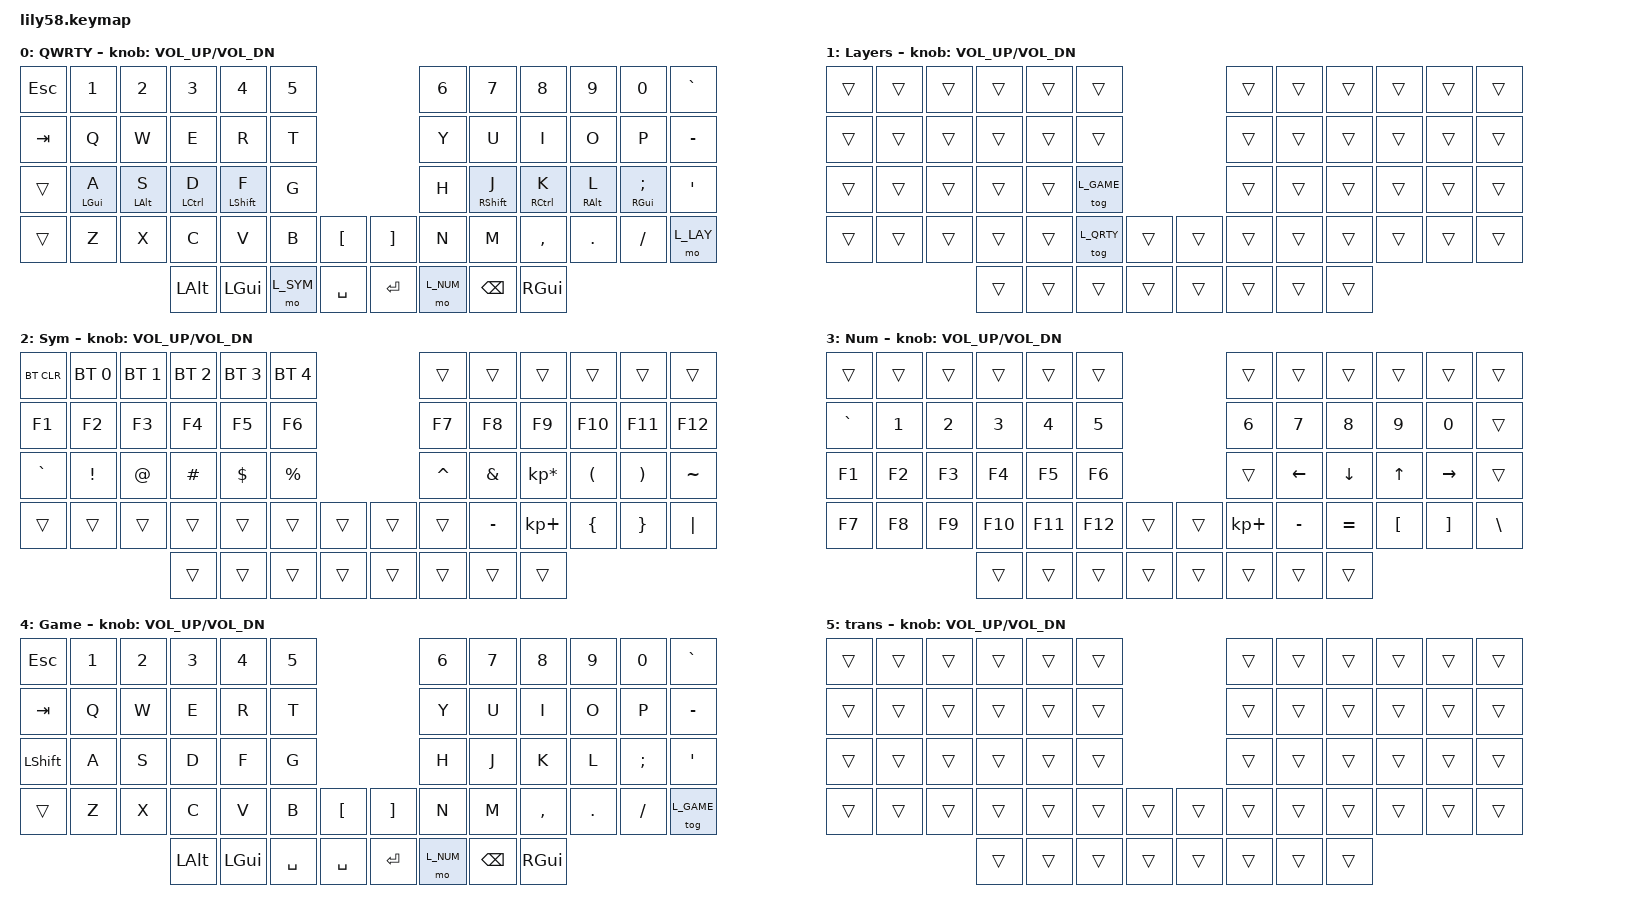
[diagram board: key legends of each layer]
/*
 * Copyright (c) 2020 The ZMK Contributors
 *
 * SPDX-License-Identifier: MIT
 */

#include <behaviors.dtsi>
#include <dt-bindings/zmk/keys.h>
#include <dt-bindings/zmk/bt.h>
#include <dt-bindings/zmk/ext_power.h>

// Layers
#define L_QRTY 0
#define L_LAY 1
#define L_SYM 2
#define L_NUM 3
#define L_GAME 4

// Key numbers
#define KEYS_L 0 1 2 3 4 5 12 13 14 15 16 17 24 25 26 27 28 29 36 37 38 39 40 41
#define KEYS_R 6 7 8 9 10 11 18 19 20 21 22 23 30 31 32 33 34 35 42 43 44 45 46 47
#define THUMBS 48 49 50 51 52 53 54 55

/ {
    behaviors {
        hml: home_row_mod_left {
            compatible = "zmk,behavior-hold-tap";
            #binding-cells = <2>;
            flavor = "balanced";
            tapping-term-ms = <200>;
            quick-tap-ms = <175>;
            require-prior-idle-ms = <50>;
            bindings = <&kp>, <&kp>;

            hold-trigger-key-positions = <KEYS_R THUMBS>;
            hold-trigger-on-release;
        };

        hmr: home_row_mod_right {
            compatible = "zmk,behavior-hold-tap";
            #binding-cells = <2>;
            flavor = "balanced";
            tapping-term-ms = <200>;
            quick-tap-ms = <175>;
            require-prior-idle-ms = <50>;
            bindings = <&kp>, <&kp>;

            hold-trigger-key-positions = <KEYS_L THUMBS>;
            hold-trigger-on-release;
        };
    };

    keymap {
        compatible = "zmk,keymap";

        qwerty {
// ------------------------------------------------------------------------------------------------------------
// |  ESC  |  1  |  2  |  3   |  4   |  5  |                   |  6  |  7    |  8    |  9   |   0   |   `   |
// |  TAB  |  Q  |  W  |  E   |  R   |  T  |                   |  Y  |  U    |  I    |  O   |   P   |   -   |
// |       |  A  |  S  |  D   |  F   |  G  |                   |  H  |  J    |  K    |  L   |   ;   |   '   |
// |       |  Z  |  X  |  C   |  V   |  B  |   "["  |  |  "]"  |  N  |  M    |  ,    |  .   |   /   | LAYER |
//                     | ALT  | GUI  | SYM |  SPACE |  | ENTER | NUM | BSPC  | GUI   |
            display-name = "QWRTY";
            bindings = <
&kp ESC   &kp N1       &kp N2       &kp N3        &kp N4        &kp N5                     &kp N6 &kp N7        &kp N8        &kp N9       &kp N0          &kp GRAVE
&kp TAB   &kp Q        &kp W        &kp E         &kp R         &kp T                      &kp Y  &kp U         &kp I         &kp O        &kp P           &kp MINUS
&trans    &hml LGUI A  &hml LALT S  &hml LCTRL D  &hml LSHFT F  &kp G                      &kp H  &hmr RSHFT J  &hmr RCTRL K  &hmr RALT L  &hmr RGUI SEMI  &kp SQT
&trans    &kp Z        &kp X        &kp C         &kp V         &kp B  &kp LBKT   &kp RBKT &kp N  &kp M         &kp COMMA     &kp DOT      &kp FSLH        &mo L_LAY
                                          &kp LALT &kp LGUI &mo L_SYM  &kp SPACE  &kp RET  &mo L_NUM  &kp BSPC &kp RGUI
            >;

            sensor-bindings = <&inc_dec_kp C_VOL_UP C_VOL_DN>;
        };

        layers {
// ------------------------------------------------------------------------------------------------------------
// |       |     |     |      |      |      |                   |      |       |       |      |       |       |
// |   `   |     |     |      |      |      |                   |      |       |       |      |       |       |
// |       |     |     |      |      | GAME |                   |      |       |       |      |  -    |       |
// |       |     |     |      |      | QRTY |        |  |       |      |       |       |      |       |       |
//                     |      |      |      |        |  |       |      |       |       |
            display-name = "Layers";
            bindings = <
&trans  &trans  &trans  &trans  &trans  &trans                          &trans  &trans  &trans  &trans  &trans  &trans
&trans  &trans  &trans  &trans  &trans  &trans                          &trans  &trans  &trans  &trans  &trans  &trans
&trans  &trans  &trans  &trans  &trans  &tog L_GAME                     &trans  &trans  &trans  &trans  &trans  &trans
&trans  &trans  &trans  &trans  &trans  &tog L_QRTY   &trans    &trans  &trans  &trans  &trans  &trans  &trans  &trans
                        &trans  &trans  &trans        &trans    &trans  &trans  &trans  &trans
            >;

            sensor-bindings = <&inc_dec_kp C_VOL_UP C_VOL_DN>;
        };

        symbols {
// ------------------------------------------------------------------------------------------------------------
// | BTCLR | BT1 | BT2 |  BT3 |  BT4 |  BT5 |                   |      |       |       |      |       |       |
// |  F1   |  F2 |  F3 |  F4  |  F5  |  F6  |                   |  F7  |  F8   |  F9   |  F10 |  F11  |  F12  |
// |   `   |  !  |  @  |  #   |  $   |  %   |                   |  ^   |  &    |  *    |  (   |   )   |   ~   |
// |       |     |     |      |      |      |        |  |       |      |  _    |  +    |  {   |   }   |  "|"  |
//                     |      |      |      |        |  |       |      |       |       |
            display-name = "Sym";
            bindings = <
&bt BT_CLR &bt BT_SEL 0     &bt BT_SEL 1      &bt BT_SEL 2      &bt BT_SEL 3 &bt BT_SEL 4                 &trans    &trans    &trans          &trans    &trans    &trans
&kp F1     &kp F2           &kp F3            &kp F4            &kp F5       &kp F6                       &kp F7    &kp F8    &kp F9          &kp F10   &kp F11   &kp F12
&kp GRAVE  &kp EXCL         &kp AT            &kp HASH          &kp DOLLAR   &kp PRCNT                    &kp CARET &kp AMPS  &kp KP_MULTIPLY &kp LPAR  &kp RPAR  &kp TILDE
&trans     &trans           &trans            &trans            &trans       &trans    &trans   &trans    &trans    &kp MINUS &kp KP_PLUS     &kp LBRC  &kp RBRC  &kp PIPE
                                              &trans            &trans       &trans    &trans   &trans    &trans    &trans    &trans
            >;

            sensor-bindings = <&inc_dec_kp C_VOL_UP C_VOL_DN>;
        };

        numbers {
// ------------------------------------------------------------------------------------------------------------
// |       |     |     |      |      |      |                   |      |       |       |      |       |       |
// |   `   |  1  |  2  |  3   |  4   |  5   |                   |  6   |   7   |   8   |  9   |   0   |       |
// |   F1  |  F2 |  F3 |  F4  |  F5  |  F6  |                   |      |   <-  |   v   |  ^   |  ->   |       |
// |   F7  |  F8 |  F9 |  F10 |  F11 |  F12 |        |  |       |  +   |   -   |   =   |  [   |   ]   |   \   |
//                     |      |      |      |        |  |       |      |       |       |
            display-name = "Num";
            bindings = <
&trans    &trans &trans &trans  &trans  &trans                       &trans      &trans    &trans    &trans   &trans    &trans
&kp GRAVE &kp N1 &kp N2 &kp N3  &kp N4  &kp N5                       &kp N6      &kp N7    &kp N8    &kp N9   &kp N0    &trans
&kp F1    &kp F2 &kp F3 &kp F4  &kp F5  &kp F6                       &trans      &kp LEFT  &kp DOWN  &kp UP   &kp RIGHT &trans
&kp F7    &kp F8 &kp F9 &kp F10 &kp F11 &kp F12   &trans   &trans    &kp KP_PLUS &kp MINUS &kp EQUAL &kp LBKT &kp RBKT  &kp BSLH
                        &trans  &trans  &trans    &trans   &trans    &trans      &trans    &trans
            >;

            sensor-bindings = <&inc_dec_kp C_VOL_UP C_VOL_DN>;
        };

        gaming {
// ------------------------------------------------------------------------------------------------------------
// |  ESC  |  1  |  2  |  3   |  4   |  5  |                   |  6  |  7    |  8    |  9   |   0   |   `   |
// |  TAB  |  Q  |  W  |  E   |  R   |  T  |                   |  Y  |  U    |  I    |  O   |   P   |   -   |
// |  SHFT |  A  |  S  |  D   |  F   |  G  |                   |  H  |  J    |  K    |  L   |   ;   |   '   |
// |  CTRL |  Z  |  X  |  C   |  V   |  B  |   "["  |  |  "]"  |  N  |  M    |  ,    |  .   |   /   | LAYER |
//                     | ALT  | GUI  | SYM |  SPACE |  | ENTER | NUM | BSPC  | GUI   |
            display-name = "Game";
            bindings = <
&kp ESC      &kp N1       &kp N2       &kp N3        &kp N4        &kp N5                      &kp N6 &kp N7        &kp N8        &kp N9       &kp N0          &kp GRAVE
&kp TAB      &kp Q        &kp W        &kp E         &kp R         &kp T                       &kp Y  &kp U         &kp I         &kp O        &kp P           &kp MINUS
&kp LSHFT    &kp A        &kp S        &kp D         &kp F         &kp G                       &kp H  &kp J         &kp K         &kp L        &kp SEMI        &kp SQT
&trans       &kp Z        &kp X        &kp C         &kp V         &kp B  &kp LBKT   &kp RBKT  &kp N  &kp M         &kp COMMA     &kp DOT      &kp FSLH        &tog L_GAME
                                             &kp LALT &kp LGUI &kp SPACE  &kp SPACE  &kp RET   &mo L_NUM  &kp BSPC &kp RGUI
            >;

            sensor-bindings = <&inc_dec_kp C_VOL_UP C_VOL_DN>;
        };

        trans {
// ------------------------------------------------------------------------------------------------------------
// |       |     |     |      |      |      |                   |      |       |       |      |       |       |
// |   `   |     |     |      |      |      |                   |      |       |       |      |       |       |
// |       |     |     |      |      |      |                   |      |       |       |      |  -    |       |
// |       |     |     |      |      |      |        |  |       |      |       |       |      |       |       |
//                     |      |      |      |        |  |       |      |       |       |
            display-name = "trans";
            bindings = <
&trans  &trans &trans &trans  &trans  &trans                     &trans  &trans  &trans  &trans  &trans  &trans
&trans  &trans &trans &trans  &trans  &trans                     &trans  &trans  &trans  &trans  &trans  &trans
&trans  &trans &trans &trans  &trans  &trans                     &trans  &trans  &trans  &trans  &trans  &trans
&trans  &trans &trans &trans  &trans  &trans   &trans    &trans  &trans  &trans  &trans  &trans  &trans  &trans
                      &trans  &trans  &trans   &trans    &trans  &trans  &trans  &trans
            >;

            sensor-bindings = <&inc_dec_kp C_VOL_UP C_VOL_DN>;
        };

        extra_1 {
            status = "reserved";
        };

        extra_2 {
            status = "reserved";
        };

        extra_3 {
            status = "reserved";
        };
    };
};

